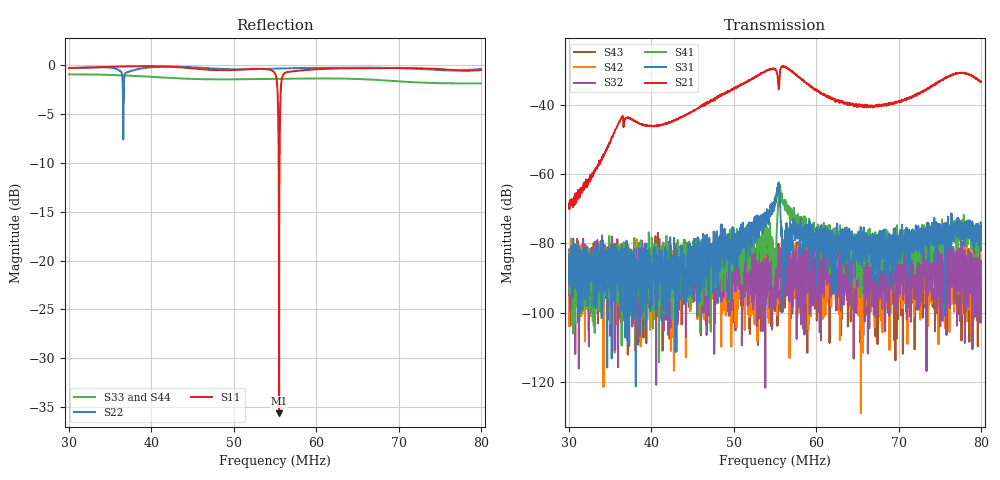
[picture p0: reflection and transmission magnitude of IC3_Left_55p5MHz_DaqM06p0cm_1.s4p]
#  HZ  S  DB  R  50.00
! Rohde & Schwarz Vector Network Analyzer
! Rohde-Schwarz,ZNB8-4Port,1311601044102961,2.82
! Created: UTC 2/13/2019, 9:27:30 AM
! freq[Hz]  db:S11  ang:S11  db:S12  ang:S12  db:S13  ang:S13  db:S14  ang:S14
!  db:S21  ang:S21  db:S22  ang:S22  db:S23  ang:S23  db:S24  ang:S24
!  db:S31  ang:S31  db:S32  ang:S32  db:S33  ang:S33  db:S34  ang:S34
!  db:S41  ang:S41  db:S42  ang:S42  db:S43  ang:S43  db:S44  ang:S44
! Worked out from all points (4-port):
!   2001 points, 30 MHz to 80 MHz, reference 50 ohm
!   strongest paths, dB at 30 MHz, 42.5 MHz, 55 MHz, 67.5 MHz, 80 MHz:
!     S21: -68.6, -44.9, -29.9, -40.3, -33.5
!     S31: -91.7, -85.9, -67.6, -79.2, -78.5
!     S41: -86.1, -101.9, -84.2, -82.0, -80.8
!     S32: -95.0, -85.9, -88.8, -88.1, -85.0
!     S42: -103.8, -86.2, -86.7, -93.6, -86.0
!     S43: -86.1, -86.6, -84.6, -89.3, -92.5
!   lowest |S11| = -35.6 dB at 55.5 MHz (marker M1), VSWR 1.03, Z = 51 - j1.31 ohm
!   |S11| at or under -10 dB: 55.44127 MHz to 55.55309 MHz (111.8 kHz wide, 0.201 % of centre)
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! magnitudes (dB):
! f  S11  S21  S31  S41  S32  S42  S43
! 30 MHz  -0.3  -68.6  -91.7  -86.1  -95.0  -103.8  -86.1
! 36.3 MHz  -0.1  -44.0  -81.6  -91.4  -93.0  -85.9  -93.1
! 54.9 MHz  -0.7  -29.8  -68.2  -88.7  -88.5  -93.5  -82.2
! 55.5 MHz  -35.6  -34.8  -64.2  -64.2  -84.5  -82.5  -88.2
! 56.08 MHz  -0.9  -29.0  -79.5  -67.5  -85.7  -83.0  -85.8
! 65.15 MHz  -0.3  -40.3  -84.8  -84.6  -86.0  -100.8  -89.7
! 80 MHz  -0.5  -33.5  -78.5  -80.8  -85.0  -86.0  -92.5
